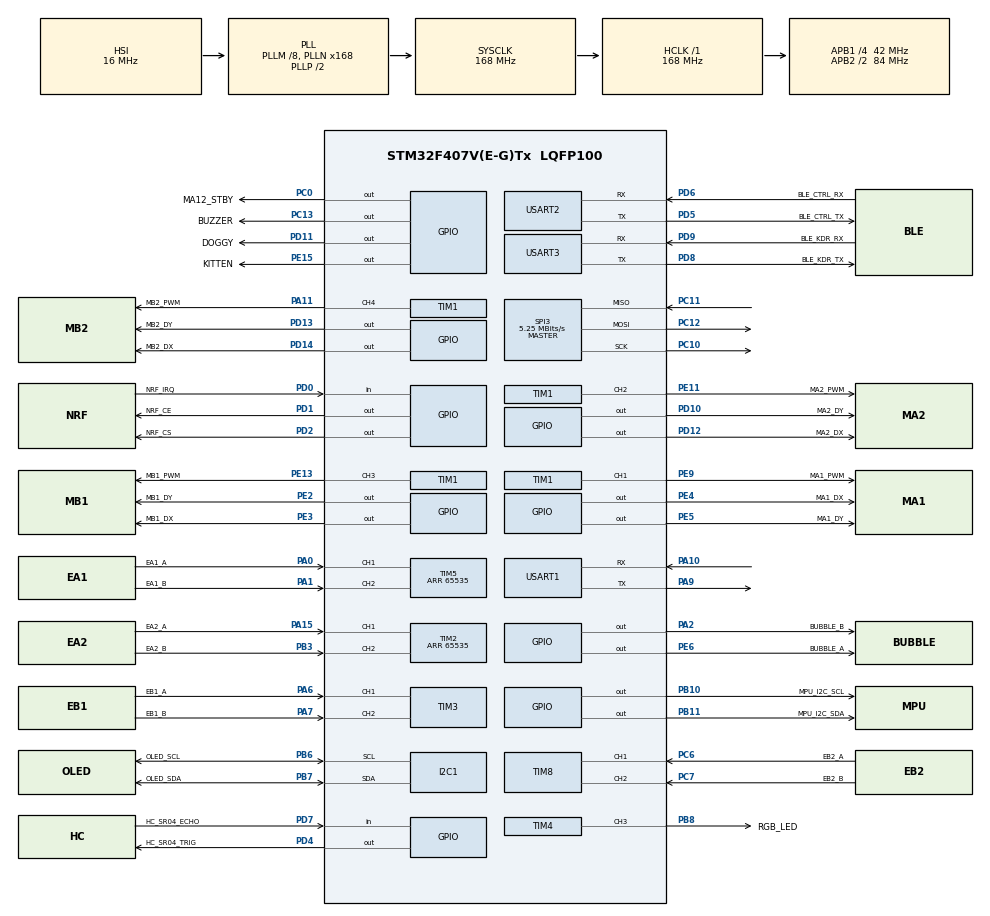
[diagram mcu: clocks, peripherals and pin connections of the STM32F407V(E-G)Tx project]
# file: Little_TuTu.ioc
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Dma.Request0=USART3_RX
Dma.Request1=USART3_TX
Dma.Request2=USART2_RX
Dma.Request3=USART2_TX
Dma.Request4=TIM4_CH3
Dma.TIM4_CH3.4.Direction=DMA_MEMORY_TO_PERIPH
Dma.TIM4_CH3.4.FIFOMode=DMA_FIFOMODE_DISABLE
Dma.TIM4_CH3.4.Instance=DMA1_Stream7
Dma.TIM4_CH3.4.MemDataAlignment=DMA_MDATAALIGN_HALFWORD
Dma.TIM4_CH3.4.MemInc=DMA_MINC_ENABLE
Dma.TIM4_CH3.4.Mode=DMA_CIRCULAR
Dma.TIM4_CH3.4.PeriphDataAlignment=DMA_PDATAALIGN_HALFWORD
Dma.TIM4_CH3.4.PeriphInc=DMA_PINC_DISABLE
Dma.TIM4_CH3.4.Priority=DMA_PRIORITY_LOW
Dma.USART2_RX.2.Direction=DMA_PERIPH_TO_MEMORY
Dma.USART2_RX.2.FIFOMode=DMA_FIFOMODE_DISABLE
Dma.USART2_RX.2.Instance=DMA1_Stream5
Dma.USART2_RX.2.MemDataAlignment=DMA_MDATAALIGN_BYTE
Dma.USART2_RX.2.MemInc=DMA_MINC_ENABLE
Dma.USART2_RX.2.Mode=DMA_NORMAL
Dma.USART2_RX.2.PeriphDataAlignment=DMA_PDATAALIGN_BYTE
Dma.USART2_RX.2.PeriphInc=DMA_PINC_DISABLE
Dma.USART2_RX.2.Priority=DMA_PRIORITY_LOW
Dma.USART2_TX.3.Direction=DMA_MEMORY_TO_PERIPH
Dma.USART2_TX.3.FIFOMode=DMA_FIFOMODE_DISABLE
Dma.USART2_TX.3.Instance=DMA1_Stream6
Dma.USART2_TX.3.MemDataAlignment=DMA_MDATAALIGN_BYTE
Dma.USART2_TX.3.MemInc=DMA_MINC_ENABLE
Dma.USART2_TX.3.Mode=DMA_NORMAL
Dma.USART2_TX.3.PeriphDataAlignment=DMA_PDATAALIGN_BYTE
Dma.USART2_TX.3.PeriphInc=DMA_PINC_DISABLE
Dma.USART2_TX.3.Priority=DMA_PRIORITY_LOW
Dma.USART3_RX.0.Direction=DMA_PERIPH_TO_MEMORY
Dma.USART3_RX.0.FIFOMode=DMA_FIFOMODE_DISABLE
Dma.USART3_RX.0.Instance=DMA1_Stream1
Dma.USART3_RX.0.MemDataAlignment=DMA_MDATAALIGN_BYTE
Dma.USART3_RX.0.MemInc=DMA_MINC_ENABLE
Dma.USART3_RX.0.Mode=DMA_NORMAL
Dma.USART3_RX.0.PeriphDataAlignment=DMA_PDATAALIGN_BYTE
Dma.USART3_RX.0.PeriphInc=DMA_PINC_DISABLE
Dma.USART3_RX.0.Priority=DMA_PRIORITY_LOW
Dma.USART3_TX.1.Direction=DMA_MEMORY_TO_PERIPH
Dma.USART3_TX.1.FIFOMode=DMA_FIFOMODE_DISABLE
Dma.USART3_TX.1.Instance=DMA1_Stream3
Dma.USART3_TX.1.MemDataAlignment=DMA_MDATAALIGN_BYTE
Dma.USART3_TX.1.MemInc=DMA_MINC_ENABLE
Dma.USART3_TX.1.Mode=DMA_NORMAL
Dma.USART3_TX.1.PeriphDataAlignment=DMA_PDATAALIGN_BYTE
Dma.USART3_TX.1.PeriphInc=DMA_PINC_DISABLE
Dma.USART3_TX.1.Priority=DMA_PRIORITY_LOW
Mcu.Family=STM32F4
Mcu.Name=STM32F407V(E-G)Tx
Mcu.Package=LQFP100
NVIC.DMA1_Stream1_IRQn=true\:0\:0\:false\:false\:true\:false\:true\:true
NVIC.DMA1_Stream3_IRQn=true\:0\:0\:false\:false\:true\:false\:true\:true
NVIC.DMA1_Stream5_IRQn=true\:0\:0\:false\:false\:true\:false\:true\:true
NVIC.DMA1_Stream6_IRQn=true\:0\:0\:false\:false\:true\:false\:true\:true
NVIC.DMA1_Stream7_IRQn=true\:0\:0\:false\:false\:true\:false\:true\:true
NVIC.PriorityGroup=NVIC_PRIORITYGROUP_4
NVIC.TIM1_UP_TIM10_IRQn=true\:0\:0\:false\:false\:true\:true\:true\:true
NVIC.TIM2_IRQn=true\:0\:0\:false\:false\:true\:true\:true\:true
NVIC.TIM3_IRQn=true\:0\:0\:false\:false\:true\:true\:true\:true
NVIC.TIM5_IRQn=true\:0\:0\:false\:false\:true\:true\:true\:true
NVIC.TIM7_IRQn=true\:0\:0\:false\:false\:true\:true\:true\:true
NVIC.TIM8_UP_TIM13_IRQn=true\:0\:0\:false\:false\:true\:true\:true\:true
NVIC.USART2_IRQn=true\:0\:0\:false\:false\:true\:true\:true\:true
NVIC.USART3_IRQn=true\:15\:0\:true\:false\:true\:true\:true\:true
PA0-WKUP.GPIO_Label=EA1_A
PA0-WKUP.Signal=S_TIM5_CH1
PA1.GPIO_Label=EA1_B
PA1.Signal=S_TIM5_CH2
PA10.Mode=Asynchronous
PA10.Signal=USART1_RX
PA11.GPIO_Label=MB2_PWM
PA11.Signal=S_TIM1_CH4
PA13.Mode=Serial_Wire
PA13.Signal=SYS_JTMS-SWDIO
PA14.Mode=Serial_Wire
PA14.Signal=SYS_JTCK-SWCLK
PA15.GPIO_Label=EA2_A
PA15.Signal=S_TIM2_CH1_ETR
PA2.GPIO_Label=BUBBLE_B
PA2.GPIO_PuPd=GPIO_PULLUP
PA2.Signal=GPIO_Output
PA6.GPIO_Label=EB1_A
PA6.Signal=S_TIM3_CH1
PA7.GPIO_Label=EB1_B
PA7.Signal=S_TIM3_CH2
PA9.Mode=Asynchronous
PA9.Signal=USART1_TX
PB10.GPIO_Label=MPU_I2C_SCL
PB10.GPIO_ModeDefaultOutputPP=GPIO_MODE_OUTPUT_OD
PB10.GPIO_PuPd=GPIO_PULLUP
PB10.GPIO_Speed=GPIO_SPEED_FREQ_HIGH
PB10.Signal=GPIO_Output
PB11.GPIO_Label=MPU_I2C_SDA
PB11.GPIO_ModeDefaultOutputPP=GPIO_MODE_OUTPUT_OD
PB11.GPIO_PuPd=GPIO_PULLUP
PB11.GPIO_Speed=GPIO_SPEED_FREQ_HIGH
PB11.Signal=GPIO_Output
PB3.GPIO_Label=EA2_B
PB3.Signal=S_TIM2_CH2
PB6.GPIO_Label=OLED_SCL
PB6.Mode=I2C
PB6.Signal=I2C1_SCL
PB7.GPIO_Label=OLED_SDA
PB7.Mode=I2C
PB7.Signal=I2C1_SDA
PB8.GPIO_Label=RGB_LED
PB8.Signal=S_TIM4_CH3
PC0.GPIO_Label=MA12_STBY
PC0.PinState=GPIO_PIN_SET
PC0.Signal=GPIO_Output
PC10.Mode=Full_Duplex_Master
PC10.Signal=SPI3_SCK
PC11.Mode=Full_Duplex_Master
PC11.Signal=SPI3_MISO
PC12.Mode=Full_Duplex_Master
PC12.Signal=SPI3_MOSI
PC13-ANTI_TAMP.GPIO_Label=BUZZER
PC13-ANTI_TAMP.PinState=GPIO_PIN_RESET
PC13-ANTI_TAMP.Signal=GPIO_Output
PC14-OSC32_IN.Mode=LSE-External-Oscillator
PC14-OSC32_IN.Signal=RCC_OSC32_IN
PC15-OSC32_OUT.Mode=LSE-External-Oscillator
PC15-OSC32_OUT.Signal=RCC_OSC32_OUT
PC6.GPIO_Label=EB2_A
PC6.Signal=S_TIM8_CH1
PC7.GPIO_Label=EB2_B
PC7.Signal=S_TIM8_CH2
PD0.GPIO_Label=NRF_IRQ
PD0.GPIO_PuPd=GPIO_PULLUP
PD0.Signal=GPIO_Input
PD1.GPIO_Label=NRF_CE
PD1.GPIO_PuPd=GPIO_PULLUP
PD1.Signal=GPIO_Output
PD10.GPIO_Label=MA2_DY
PD10.Signal=GPIO_Output
PD11.GPIO_Label=DOGGY
PD11.Signal=GPIO_Output
PD12.GPIO_Label=MA2_DX
PD12.Signal=GPIO_Output
PD13.GPIO_Label=MB2_DY
PD13.Signal=GPIO_Output
PD14.GPIO_Label=MB2_DX
PD14.Signal=GPIO_Output
PD2.GPIO_Label=NRF_CS
PD2.GPIO_PuPd=GPIO_PULLUP
PD2.Signal=GPIO_Output
PD4.GPIO_Label=HC_SR04_TRIG
PD4.Signal=GPIO_Output
PD5.GPIO_Label=BLE_CTRL_TX
PD5.Mode=Asynchronous
PD5.Signal=USART2_TX
PD6.GPIO_Label=BLE_CTRL_RX
PD6.Mode=Asynchronous
PD6.Signal=USART2_RX
PD7.GPIO_Label=HC_SR04_ECHO
PD7.GPIO_PuPd=GPIO_PULLDOWN
PD7.Signal=GPIO_Input
PD8.GPIO_Label=BLE_KDR_TX
PD8.Mode=Asynchronous
PD8.Signal=USART3_TX
PD9.GPIO_Label=BLE_KDR_RX
PD9.Mode=Asynchronous
PD9.Signal=USART3_RX
PE11.GPIO_Label=MA2_PWM
PE11.Signal=S_TIM1_CH2
PE13.GPIO_Label=MB1_PWM
PE13.Signal=S_TIM1_CH3
PE15.GPIO_Label=KITTEN
PE15.PinState=GPIO_PIN_SET
PE15.Signal=GPIO_Output
PE2.GPIO_Label=MB1_DY
PE2.Signal=GPIO_Output
PE3.GPIO_Label=MB1_DX
PE3.Signal=GPIO_Output
PE4.GPIO_Label=MA1_DX
PE4.Signal=GPIO_Output
PE5.GPIO_Label=MA1_DY
PE5.Signal=GPIO_Output
PE6.GPIO_Label=BUBBLE_A
PE6.GPIO_PuPd=GPIO_PULLUP
PE6.Signal=GPIO_Output
PE9.GPIO_Label=MA1_PWM
PE9.Signal=S_TIM1_CH1
PH0-OSC_IN.Mode=HSE-External-Oscillator
PH0-OSC_IN.Signal=RCC_OSC_IN
PH1-OSC_OUT.Mode=HSE-External-Oscillator
PH1-OSC_OUT.Signal=RCC_OSC_OUT
ProjectManager.HeapSize=0x400
ProjectManager.StackSize=0x400
ProjectManager.TargetToolchain=MDK-ARM V5
RCC.48MHZClocksFreq_Value=84000000
RCC.AHBFreq_Value=168000000
RCC.APB1CLKDivider=RCC_HCLK_DIV4
RCC.APB1Freq_Value=42000000
RCC.APB1TimFreq_Value=84000000
RCC.APB2CLKDivider=RCC_HCLK_DIV2
RCC.APB2Freq_Value=84000000
RCC.APB2TimFreq_Value=168000000
RCC.CortexFreq_Value=168000000
RCC.HCLKFreq_Value=168000000
RCC.HSE_VALUE=25000000
RCC.HSI_VALUE=16000000
RCC.PLLM=8
RCC.PLLN=168
RCC.SYSCLKFreq_VALUE=168000000
RCC.SYSCLKSource=RCC_SYSCLKSOURCE_PLLCLK
RCC.VCOOutputFreq_Value=336000000
SH.S_TIM1_CH1.0=TIM1_CH1,PWM Generation1 CH1
SH.S_TIM1_CH2.0=TIM1_CH2,PWM Generation2 CH2
SH.S_TIM1_CH3.0=TIM1_CH3,PWM Generation3 CH3
SH.S_TIM1_CH4.0=TIM1_CH4,PWM Generation4 CH4
SH.S_TIM2_CH1_ETR.0=TIM2_CH1,Encoder_Interface
SH.S_TIM2_CH2.0=TIM2_CH2,Encoder_Interface
SH.S_TIM3_CH1.0=TIM3_CH1,Encoder_Interface
SH.S_TIM3_CH2.0=TIM3_CH2,Encoder_Interface
SH.S_TIM4_CH3.0=TIM4_CH3,PWM Generation3 CH3
SH.S_TIM5_CH1.0=TIM5_CH1,Encoder_Interface
SH.S_TIM5_CH2.0=TIM5_CH2,Encoder_Interface
SH.S_TIM8_CH1.0=TIM8_CH1,Encoder_Interface
SH.S_TIM8_CH2.0=TIM8_CH2,Encoder_Interface
SPI3.BaudRatePrescaler=SPI_BAUDRATEPRESCALER_8
SPI3.CalculateBaudRate=5.25 MBits/s
SPI3.Direction=SPI_DIRECTION_2LINES
SPI3.Mode=SPI_MODE_MASTER
SPI3.VirtualType=VM_MASTER
TIM1.Channel-PWM\ Generation1\ CH1=TIM_CHANNEL_1
TIM1.Channel-PWM\ Generation2\ CH2=TIM_CHANNEL_2
TIM1.Channel-PWM\ Generation3\ CH3=TIM_CHANNEL_3
TIM1.Channel-PWM\ Generation4\ CH4=TIM_CHANNEL_4
TIM1.Period=2000
TIM1.Prescaler=3
TIM1.Pulse-PWM\ Generation1\ CH1=2000
TIM1.Pulse-PWM\ Generation2\ CH2=2000
TIM1.Pulse-PWM\ Generation3\ CH3=2000
TIM1.Pulse-PWM\ Generation4\ CH4=2000
TIM10.Period=10-1
TIM10.Prescaler=168-1
TIM2.EncoderMode=TIM_ENCODERMODE_TI12
TIM2.IC1Filter=15
TIM2.IC2Filter=15
TIM2.Period=65535
TIM3.EncoderMode=TIM_ENCODERMODE_TI12
TIM3.IC1Filter=15
TIM3.IC2Filter=15
TIM4.Channel-PWM\ Generation3\ CH3=TIM_CHANNEL_3
TIM4.Period=105-1
TIM5.EncoderMode=TIM_ENCODERMODE_TI12
TIM5.IC1Filter=15
TIM5.IC2Filter=15
TIM5.Period=65535
TIM6.Prescaler=84-1
TIM7.Period=50000-1
TIM7.Prescaler=84-1
TIM8.EncoderMode=TIM_ENCODERMODE_TI12
TIM8.IC1Filter=15
TIM8.IC2Filter=15
USART1.VirtualMode=VM_ASYNC
USART2.VirtualMode=VM_ASYNC
USART3.VirtualMode=VM_ASYNC
VP_TIM10_VS_ClockSourceINT.Mode=Enable_Timer
VP_TIM4_VS_ClockSourceINT.Mode=Internal
VP_TIM6_VS_ClockSourceINT.Mode=Enable_Timer
VP_TIM7_VS_ClockSourceINT.Mode=Enable_Timer
board=custom

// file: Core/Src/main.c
/* USER CODE BEGIN Header */
/**
  ******************************************************************************
  * @file           : main.c
  * @brief          : Main program body
  ******************************************************************************
  * @attention
  *
  * Copyright (c) 2024 STMicroelectronics.
  * All rights reserved.
  *
  * This software is licensed under terms that can be found in the LICENSE file
  * in the root directory of this software component.
  * If no LICENSE file comes with this software, it is provided AS-IS.
  *
  ******************************************************************************
  */
/* USER CODE END Header */
#include "main.h"
#include "dma.h"
#include "i2c.h"
#include "spi.h"
#include "tim.h"
#include "usart.h"
#include "gpio.h"

/* USER CODE BEGIN Includes */
#include "stdio.h"
#include "oled_u8g2.h"
#include "motor.h"
#include "motion.h"
#include "hc_sr04.h"
#include "buzzer.h"
#include "nrf24l01.h"
#include "com_rc.h"
#include "ws2812.h"

#ifdef MODULE_MPU6050
#include "mpu6050.h"
#include "inv_mpu.h"
#include "inv_mpu_dmp_motion_driver.h"
#endif

/* USER CODE END Includes */

void SystemClock_Config(void);

int main(void)
{

  /* MCU Configuration--------------------------------------------------------*/

  /* Reset of all peripherals, Initializes the Flash interface and the Systick. */
  HAL_Init();

  /* USER CODE BEGIN Init */
	HAL_Delay(100); // for oled

  /* USER CODE END Init */

  /* Configure the system clock */
  SystemClock_Config();

  /* Initialize all configured peripherals */
  MX_GPIO_Init();
  MX_DMA_Init();
  MX_TIM1_Init();
  MX_TIM2_Init();
  MX_TIM3_Init();
  MX_TIM5_Init();
  MX_I2C1_Init();
  MX_USART1_UART_Init();
  MX_TIM6_Init();
  MX_TIM8_Init();
  MX_USART3_UART_Init();
  MX_TIM7_Init();
  MX_USART2_UART_Init();
  MX_TIM10_Init();
  MX_SPI3_Init();
  MX_TIM4_Init();
  /* USER CODE BEGIN 2 */
  uart_dma_it_init();
  OLED_U8G2_init();
  BUZZER_init();
  WS2812_Init();
#ifdef MODULE_HC_SR04
  HC_SR04_init();
#endif
#ifdef MODULE_NRF24L01_RX
  NRF24L01_init();
#endif
#ifdef MODULE_MPU6050
  MPU_Init();					       //��ʼ��MPU6050
  uint8_t res = 0;
  do{
    res = mpu_dmp_init();
		ERR_LOG("mpu_dmp_init code: %d\r\n",res);
	}while (res);
#endif
  motor_init();
  motor_encoder_init();

  HAL_Delay(1000);
  BUZZER_beep_twice();
  WS2812_blink();
  INF_LOG("little tutu start!\r\n");

  /* USER CODE END 2 */

  /* Infinite loop */
  /* USER CODE BEGIN WHILE */
  uint64_t loop_cnt = 0;
  uint16_t rc_disconnect_cnt = 0;
  while (1)
  {
    /* USER CODE END WHILE */

    /* USER CODE BEGIN 3 */

    //////////////////////////////  10ms   /////////////////////////////////
    // HAL_UART_Transmit(&huart1,(uint8_t *)"hello world!\r\n",14,HAL_MAX_DELAY);
    // OLED_U8G2_draw_test();
    // motor_test_pwm();
    // motion_control_test_direction();
    // WS2812_test();

#ifdef MODULE_MPU6050
    imu_data_t imu_data;
    res= mpu_dmp_get_data(&imu_data);
    if(!res)
		{
			imu_data.temp = MPU_Get_Temperature();							  //�õ��¶�ֵ
			// MPU_Get_Accelerometer(&imu_data);	//�õ����ٶȴ���������
			// MPU_Get_Gyroscope(&imu_data);	//�õ�����������
		}else {
      ERR_LOG("mpu_dmp_get_data fail: %d\r\n", res);
    }
#endif
    //////////////////////////////  1s   /////////////////////////////////
    if (loop_cnt % 100 == 0) {
      HAL_GPIO_TogglePin(DOGGY_GPIO_Port, DOGGY_Pin);

      motion_control_guardian();
#ifdef MODULE_MPU6050
      OLED_U8G2_draw_mpu6050(&imu_data);
#endif
    }
    //////////////////////////////  500ms   /////////////////////////////////
    if (loop_cnt % 50 == 0) {
      WS2812_breathe_step();
    }
    //////////////////////////////  100ms   /////////////////////////////////
    if (loop_cnt % 10 == 3) {
#ifdef MODULE_KDR_REPORTER
      motor_kdr_data();
#endif
    }
    //////////////////////////////  50ms   /////////////////////////////////
    if (loop_cnt % 5 == 1) {
#ifdef MODULE_NRF24L01_RX
    // 以下封装成函数有问题，没有找到原因�?��??
      rc_data_t rc;
      rc_data_init(&rc);
      // 接受成功才会使用遥控数据，否则断连保护，速度都是0
      if(NRF24L01_RxPacket(rc.buf)==0)// 成功
      {
        uint8_t res_dec = rc_data_decode(&rc);
        // OLED_U8G2_draw_rc_com(&rc);
        if (res_dec) {
          // 解码失败，视为断连，增加计数但不立即停止
          ERR_LOG("rc decode fail!\r\n");  // 注释掉以减少串口输出
          if (rc_disconnect_cnt > 12) // 断了(600ms左右)就停止控�??
            motion_control_stop();
          else
            rc_disconnect_cnt++;
        }else {
          // 解码成功，重置断连计数并更新控制
          rc_disconnect_cnt = 0;
          motion_control_kinematics(motion_control_rc_to_kinematics(&rc));
        }
      }else { // 说明遥控断了
        // 右摇杆的卡顿是因为到了这里，很奇怪，这个问题至今无法解决。最终怀疑还是硬件电路的问题（滤波等）
        if (rc_disconnect_cnt > 16) // 断了(600ms左右)就停止控�??
        {
          motion_control_stop();
        }
        else
          rc_disconnect_cnt++;
      }
#endif
    }

		HAL_Delay(10);
    loop_cnt++;
  }
  /* USER CODE END 3 */
}

void SystemClock_Config(void)
{
  RCC_OscInitTypeDef RCC_OscInitStruct = {0};
  RCC_ClkInitTypeDef RCC_ClkInitStruct = {0};

  /** Configure the main internal regulator output voltage
  */
  __HAL_RCC_PWR_CLK_ENABLE();
  __HAL_PWR_VOLTAGESCALING_CONFIG(PWR_REGULATOR_VOLTAGE_SCALE1);

  /** Initializes the RCC Oscillators according to the specified parameters
  * in the RCC_OscInitTypeDef structure.
  */
  RCC_OscInitStruct.OscillatorType = RCC_OSCILLATORTYPE_HSI;
  RCC_OscInitStruct.HSIState = RCC_HSI_ON;
  RCC_OscInitStruct.HSICalibrationValue = RCC_HSICALIBRATION_DEFAULT;
  RCC_OscInitStruct.PLL.PLLState = RCC_PLL_ON;
  RCC_OscInitStruct.PLL.PLLSource = RCC_PLLSOURCE_HSI;
  RCC_OscInitStruct.PLL.PLLM = 8;
  RCC_OscInitStruct.PLL.PLLN = 168;
  RCC_OscInitStruct.PLL.PLLP = RCC_PLLP_DIV2;
  RCC_OscInitStruct.PLL.PLLQ = 4;
  if (HAL_RCC_OscConfig(&RCC_OscInitStruct) != HAL_OK)
  {
    Error_Handler();
  }

  /** Initializes the CPU, AHB and APB buses clocks
  */
  RCC_ClkInitStruct.ClockType = RCC_CLOCKTYPE_HCLK|RCC_CLOCKTYPE_SYSCLK
                              |RCC_CLOCKTYPE_PCLK1|RCC_CLOCKTYPE_PCLK2;
  RCC_ClkInitStruct.SYSCLKSource = RCC_SYSCLKSOURCE_PLLCLK;
  RCC_ClkInitStruct.AHBCLKDivider = RCC_SYSCLK_DIV1;
  RCC_ClkInitStruct.APB1CLKDivider = RCC_HCLK_DIV4;
  RCC_ClkInitStruct.APB2CLKDivider = RCC_HCLK_DIV2;

  if (HAL_RCC_ClockConfig(&RCC_ClkInitStruct, FLASH_LATENCY_5) != HAL_OK)
  {
    Error_Handler();
  }
}

void Error_Handler(void)
{
  __disable_irq();
  while (1)
  {
  }
}
